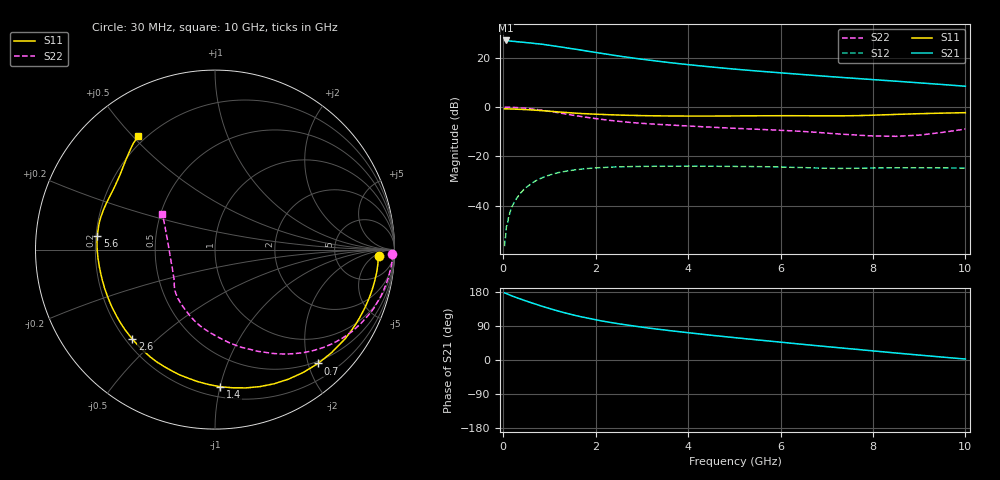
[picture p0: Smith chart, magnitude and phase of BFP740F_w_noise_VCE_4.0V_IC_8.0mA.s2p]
! Infineon Technologies  Discrete & RF Semiconductors
! BFP740F
! VCE =  4.0 V,  IC =  8.0 mA
! Common Emitter S-Parameters:  Oct 2012
# GHz  S  MA  R  50
!  f  S11  S21  S12  S22
! GHz  MAG  ANG  MAG  ANG  MAG  ANG  MAG  ANG
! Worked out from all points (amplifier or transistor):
!   99 points, 30 MHz to 10 GHz, reference 50 ohm
!   highest |S21| = 26.9 dB at 50 MHz (marker M1)
!   |S21| within 3 dB of that: start of sweep to 1.369 GHz
!   unconditionally stable (mu >= 1): 6.88 GHz to end of sweep
!   at 350 MHz: K = 0.10, MSG = 30.9 dB, |S12| = -35.5 dB
!   at 3.5 GHz: K = 0.43, MSG = 21.1 dB, |S12| = -24.1 dB
!   at 10 GHz: K = 1.29, MAG = 13.4 dB, |S12| = -24.8 dB
!   lowest NFmin = 0.42 dB at 450 MHz
!   S11 on the Smith chart (normalised r, x): 30 MHz: 19, -8; 700 MHz: 0.46, -2.18; 1.4 GHz: 0.27, -1.00; 2.6 GHz: 0.23, -0.42; 5.6 GHz: 0.21, +0.05; 10 GHz: 0.17, +0.52
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0.03  0.9131 -2.2  22.06 177.1  0.0015 58.2  0.9886 -1.4
0.05  0.911 -3.5  22.19 176.3  0.0022 69.1  0.9891 -2.4
0.15  0.9072 -10.8  21.66 171.0  0.0075 79.3  0.9823 -7.0
0.35  0.8913 -24.7  20.75 161.9  0.0168 74.2  0.959 -16.0
0.6  0.8667 -41.5  19.69 151.4  0.0275 65.0  0.9121 -26.7
0.7  0.8559 -47.8  19.18 147.5  0.0316 62.1  0.8899 -30.8
0.8  0.8425 -54.4  18.82 143.4  0.0351 58.7  0.8653 -34.7
1  0.817 -66.2  17.71 135.9  0.0414 52.3  0.812 -42.3
1.2  0.7896 -77.4  16.61 128.8  0.0466 46.4  0.7573 -49.3
1.4  0.7647 -87.8  15.54 122.4  0.0504 41.4  0.7054 -55.6
1.7  0.7316 -101.8  14.07 113.7  0.0548 34.9  0.6349 -64.2
2.1  0.7044 -117.7  12.28 103.8  0.0587 27.6  0.5626 -75.1
2.3  0.6922 -124.3  11.48 99.5  0.0599 24.6  0.5333 -79.8
2.6  0.6786 -132.8  10.4 93.8  0.061 20.9  0.4986 -85.9
2.9  0.6681 -140.6  9.519 88.4  0.0618 17.7  0.4713 -91.5
3.4  0.6568 -151.6  8.307 80.5  0.0624 13.4  0.4393 -99.4
4.3  0.6506 -167.8  6.73 68.0  0.0626 7.6  0.3959 -110.2
5.1  0.6564 -179.6  5.727 57.9  0.0619 3.8  0.3643 -119.3
5.6  0.6595 173.5  5.231 51.9  0.0613 1.8  0.3484 -124.6
6.7  0.6583 158.2  4.36 38.8  0.0579 -1.0  0.3079 -137.2
8.5  0.7031 135.1  3.314 18.4  0.0583 -0.2  0.2528 -173.8
10  0.763 124.2  2.62 2.5  0.0574 -2.1  0.3547 145.7
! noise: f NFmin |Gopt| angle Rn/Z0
0.45  0.42  0.27  6  0.19
0.9  0.47  0.27  11  0.15
1.5  0.53  0.26  23  0.11
1.9  0.58  0.26  31  0.1
2.4  0.63  0.25  42  0.09
3.5  0.76  0.22  65  0.1
5.5  0.98  0.13  118  0.12
10  1.43  0.38  -121  0.08
